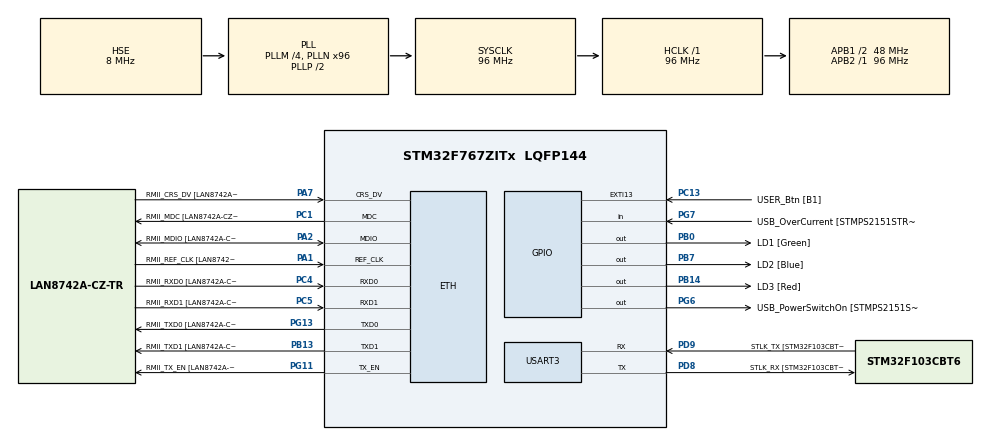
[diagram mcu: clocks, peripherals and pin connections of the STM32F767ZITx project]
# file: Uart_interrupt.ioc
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CORTEX_M7.default_mode_Activation=1
ETH.MediaInterface=HAL_ETH_RMII_MODE
ETH.PHY_Name=LAN8742A_PHY_ADDRESS
ETH.PHY_Value=0
ETH.PhyAddress=0
Mcu.Family=STM32F7
Mcu.Name=STM32F767ZITx
Mcu.Package=LQFP144
NVIC.PriorityGroup=NVIC_PRIORITYGROUP_4
NVIC.USART3_IRQn=true\:0\:0\:false\:false\:true\:true\:true\:true
PA1.GPIO_Label=RMII_REF_CLK [LAN8742A-CZ-TR_REFCLK0]
PA1.Mode=RMII
PA1.Signal=ETH_REF_CLK
PA10.GPIO_Label=USB_ID
PA10.Signal=USB_OTG_FS_ID
PA11.GPIO_Label=USB_DM
PA11.Signal=USB_OTG_FS_DM
PA12.GPIO_Label=USB_DP
PA12.Signal=USB_OTG_FS_DP
PA13.GPIO_Label=TMS
PA13.Mode=Serial_Wire
PA13.Signal=SYS_JTMS-SWDIO
PA14.GPIO_Label=TCK
PA14.Mode=Serial_Wire
PA14.Signal=SYS_JTCK-SWCLK
PA2.GPIO_Label=RMII_MDIO [LAN8742A-CZ-TR_MDIO]
PA2.Mode=RMII
PA2.Signal=ETH_MDIO
PA7.GPIO_Label=RMII_CRS_DV [LAN8742A-CZ-TR_CRS_DV]
PA7.Mode=RMII
PA7.Signal=ETH_CRS_DV
PA8.GPIO_Label=USB_SOF [TP1]
PA8.Signal=USB_OTG_FS_SOF
PA9.GPIO_Label=USB_VBUS
PA9.Signal=USB_OTG_FS_VBUS
PB0.GPIO_Label=LD1 [Green]
PB0.Signal=GPIO_Output
PB13.GPIO_Label=RMII_TXD1 [LAN8742A-CZ-TR_TXD1]
PB13.Mode=RMII
PB13.Signal=ETH_TXD1
PB14.GPIO_Label=LD3 [Red]
PB14.Signal=GPIO_Output
PB3.GPIO_Label=SWO
PB3.Signal=SYS_JTDO-SWO
PB7.GPIO_Label=LD2 [Blue]
PB7.Signal=GPIO_Output
PC1.GPIO_Label=RMII_MDC [LAN8742A-CZ-TR_MDC]
PC1.Mode=RMII
PC1.Signal=ETH_MDC
PC13.GPIO_Label=USER_Btn [B1]
PC13.Signal=GPXTI13
PC14/OSC32_IN.Mode=LSE-External-Oscillator
PC14/OSC32_IN.Signal=RCC_OSC32_IN
PC15/OSC32_OUT.Mode=LSE-External-Oscillator
PC15/OSC32_OUT.Signal=RCC_OSC32_OUT
PC4.GPIO_Label=RMII_RXD0 [LAN8742A-CZ-TR_RXD0]
PC4.Mode=RMII
PC4.Signal=ETH_RXD0
PC5.GPIO_Label=RMII_RXD1 [LAN8742A-CZ-TR_RXD1]
PC5.Mode=RMII
PC5.Signal=ETH_RXD1
PD8.GPIO_Label=STLK_RX [STM32F103CBT6_PA3]
PD8.Mode=Asynchronous
PD8.Signal=USART3_TX
PD9.GPIO_Label=STLK_TX [STM32F103CBT6_PA2]
PD9.Mode=Asynchronous
PD9.Signal=USART3_RX
PG11.GPIO_Label=RMII_TX_EN [LAN8742A-CZ-TR_TXEN]
PG11.Mode=RMII
PG11.Signal=ETH_TX_EN
PG13.GPIO_Label=RMII_TXD0 [LAN8742A-CZ-TR_TXD0]
PG13.Mode=RMII
PG13.Signal=ETH_TXD0
PG6.GPIO_Label=USB_PowerSwitchOn [STMPS2151STR_EN]
PG6.Signal=GPIO_Output
PG7.GPIO_Label=USB_OverCurrent [STMPS2151STR_FAULT]
PG7.Signal=GPIO_Input
PH0/OSC_IN.GPIO_Label=MCO [STM32F103CBT6_PA8]
PH0/OSC_IN.Mode=HSE-External-Clock-Source
PH0/OSC_IN.Signal=RCC_OSC_IN
PH1/OSC_OUT.Mode=HSE-External-Clock-Source
PH1/OSC_OUT.Signal=RCC_OSC_OUT
ProjectManager.HeapSize=0x200
ProjectManager.StackSize=0x400
ProjectManager.TargetToolchain=STM32CubeIDE
RCC.48MHZClocksFreq_Value=24000000
RCC.AHBFreq_Value=96000000
RCC.APB1CLKDivider=RCC_HCLK_DIV2
RCC.APB1Freq_Value=48000000
RCC.APB1TimFreq_Value=96000000
RCC.APB2Freq_Value=96000000
RCC.APB2TimFreq_Value=96000000
RCC.CortexFreq_Value=96000000
RCC.HCLKFreq_Value=96000000
RCC.HSE_VALUE=8000000
RCC.HSI_VALUE=16000000
RCC.PLLM=4
RCC.PLLMUL=RCC_PLL_MUL9
RCC.PLLN=96
RCC.PLLQ=4
RCC.PLLSourceVirtual=RCC_PLLSOURCE_HSE
RCC.PRESCALERUSB=RCC_USBCLKSOURCE_PLL_DIV1_5
RCC.SYSCLKFreq_VALUE=96000000
RCC.SYSCLKSource=RCC_SYSCLKSOURCE_PLLCLK
RCC.SYSCLKSourceVirtual=RCC_SYSCLKSOURCE_PLLCLK
RCC.USBFreq_Value=48000000
RCC.VCOOutputFreq_Value=192000000
USART3.VirtualMode-Asynchronous=VM_ASYNC
board=NUCLEO-F767ZI

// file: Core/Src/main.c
/* USER CODE BEGIN Header */
/**
  ******************************************************************************
  * @file           : main.c
  * @brief          : Main program body
  ******************************************************************************
  * @attention
  *
  * Copyright (c) 2026 STMicroelectronics.
  * All rights reserved.
  *
  * This software is licensed under terms that can be found in the LICENSE file
  * in the root directory of this software component.
  * If no LICENSE file comes with this software, it is provided AS-IS.
  *
  ******************************************************************************
  */
/* USER CODE END Header */
#include "main.h"
#include "string.h"

/* USER CODE BEGIN Includes */
#include "string.h"
/* USER CODE END Includes */

#if defined ( __ICCARM__ ) /*!< IAR Compiler */
#pragma location=0x2007c000
ETH_DMADescTypeDef  DMARxDscrTab[ETH_RX_DESC_CNT]; /* Ethernet Rx DMA Descriptors */
#pragma location=0x2007c0a0
ETH_DMADescTypeDef  DMATxDscrTab[ETH_TX_DESC_CNT]; /* Ethernet Tx DMA Descriptors */

#elif defined ( __CC_ARM )  /* MDK ARM Compiler */

__attribute__((at(0x2007c000))) ETH_DMADescTypeDef  DMARxDscrTab[ETH_RX_DESC_CNT]; /* Ethernet Rx DMA Descriptors */
__attribute__((at(0x2007c0a0))) ETH_DMADescTypeDef  DMATxDscrTab[ETH_TX_DESC_CNT]; /* Ethernet Tx DMA Descriptors */

#elif defined ( __GNUC__ ) /* GNU Compiler */

ETH_DMADescTypeDef DMARxDscrTab[ETH_RX_DESC_CNT] __attribute__((section(".RxDecripSection"))); /* Ethernet Rx DMA Descriptors */
ETH_DMADescTypeDef DMATxDscrTab[ETH_TX_DESC_CNT] __attribute__((section(".TxDecripSection")));   /* Ethernet Tx DMA Descriptors */
#endif

ETH_TxPacketConfig TxConfig;

ETH_HandleTypeDef heth;

UART_HandleTypeDef huart3;

/* USER CODE BEGIN PV */
char *first_message= "Hello World\r\n";
uint8_t rxData[10];
uint8_t newMessageFlag=0;
extern uint8_t indx;
uint8_t tempRxData[10];
/* USER CODE END PV */

void SystemClock_Config(void);
static void MPU_Config(void);
static void MX_GPIO_Init(void);
static void MX_ETH_Init(void);
static void MX_USART3_UART_Init(void);

int main(void)
{

  /* MPU Configuration--------------------------------------------------------*/
  MPU_Config();

  /* MCU Configuration--------------------------------------------------------*/

  /* Reset of all peripherals, Initializes the Flash interface and the Systick. */
  HAL_Init();

  /* Configure the system clock */
  SystemClock_Config();

  /* Initialize all configured peripherals */
  MX_GPIO_Init();
  MX_ETH_Init();
  MX_USART3_UART_Init();
  /* USER CODE BEGIN 2 */
//HAL_UART_Transmit_IT(&huart3,(uint8_t*)first_message, strlen(first_message));
//HAL_UART_Receive_IT(&huart3, rxData, 10);
  __HAL_UART_ENABLE_IT(&huart3,UART_IT_RXNE);
  /* USER CODE END 2 */

  /* Infinite loop */
  /* USER CODE BEGIN WHILE */
  while (1)
  {

	  if(newMessageFlag == 1){

		  for(int i=0;i<10;i++){

			  if(rxData[i]=='\n'){
				  indx=0;
				  // 1. Önce gelen veriyi geçici değişkene kopyala (Silinmesin diye)
				    for(int j=0; j<10; j++){
				                    tempRxData[j] = rxData[j];
				      }
				  if(rxData[0]=='L' && rxData[1]=='E'&&rxData[2]=='D'&&rxData[3]==' '&&rxData[4]=='O'&&
						  rxData[5]=='N'){

					 HAL_GPIO_WritePin(GPIOB, GPIO_PIN_0, GPIO_PIN_SET);

				  }else if(rxData[0]=='L'&&rxData[1]=='E'&&rxData[2]=='D'&&rxData[3]==' '&&
						  rxData[4]=='O' && rxData[5]=='F'&& rxData[6]=='F'){

						 HAL_GPIO_WritePin(GPIOB, GPIO_PIN_0, GPIO_PIN_RESET);
					  }else{

					  }

				  for(int i=0;i<10;i++){

					  rxData[i]=0;
				  }
				  //mesajın sonu

				  break;
			  }
		  }

		  newMessageFlag=0;
	  }
    /* USER CODE END WHILE */

  }
}

void SystemClock_Config(void)
{
  RCC_OscInitTypeDef RCC_OscInitStruct = {0};
  RCC_ClkInitTypeDef RCC_ClkInitStruct = {0};

  /** Configure LSE Drive Capability
  */
  HAL_PWR_EnableBkUpAccess();

  /** Configure the main internal regulator output voltage
  */
  __HAL_RCC_PWR_CLK_ENABLE();
  __HAL_PWR_VOLTAGESCALING_CONFIG(PWR_REGULATOR_VOLTAGE_SCALE3);

  /** Initializes the RCC Oscillators according to the specified parameters
  * in the RCC_OscInitTypeDef structure.
  */
  RCC_OscInitStruct.OscillatorType = RCC_OSCILLATORTYPE_HSE;
  RCC_OscInitStruct.HSEState = RCC_HSE_BYPASS;
  RCC_OscInitStruct.PLL.PLLState = RCC_PLL_ON;
  RCC_OscInitStruct.PLL.PLLSource = RCC_PLLSOURCE_HSE;
  RCC_OscInitStruct.PLL.PLLM = 4;
  RCC_OscInitStruct.PLL.PLLN = 96;
  RCC_OscInitStruct.PLL.PLLP = RCC_PLLP_DIV2;
  RCC_OscInitStruct.PLL.PLLQ = 4;
  RCC_OscInitStruct.PLL.PLLR = 2;
  if (HAL_RCC_OscConfig(&RCC_OscInitStruct) != HAL_OK)
  {
    Error_Handler();
  }

  /** Activate the Over-Drive mode
  */
  if (HAL_PWREx_EnableOverDrive() != HAL_OK)
  {
    Error_Handler();
  }

  /** Initializes the CPU, AHB and APB buses clocks
  */
  RCC_ClkInitStruct.ClockType = RCC_CLOCKTYPE_HCLK|RCC_CLOCKTYPE_SYSCLK
                              |RCC_CLOCKTYPE_PCLK1|RCC_CLOCKTYPE_PCLK2;
  RCC_ClkInitStruct.SYSCLKSource = RCC_SYSCLKSOURCE_PLLCLK;
  RCC_ClkInitStruct.AHBCLKDivider = RCC_SYSCLK_DIV1;
  RCC_ClkInitStruct.APB1CLKDivider = RCC_HCLK_DIV2;
  RCC_ClkInitStruct.APB2CLKDivider = RCC_HCLK_DIV1;

  if (HAL_RCC_ClockConfig(&RCC_ClkInitStruct, FLASH_LATENCY_3) != HAL_OK)
  {
    Error_Handler();
  }
}

static void MX_ETH_Init(void)
{

   static uint8_t MACAddr[6];

  heth.Instance = ETH;
  MACAddr[0] = 0x00;
  MACAddr[1] = 0x80;
  MACAddr[2] = 0xE1;
  MACAddr[3] = 0x00;
  MACAddr[4] = 0x00;
  MACAddr[5] = 0x00;
  heth.Init.MACAddr = &MACAddr[0];
  heth.Init.MediaInterface = HAL_ETH_RMII_MODE;
  heth.Init.TxDesc = DMATxDscrTab;
  heth.Init.RxDesc = DMARxDscrTab;
  heth.Init.RxBuffLen = 1524;

  if (HAL_ETH_Init(&heth) != HAL_OK)
  {
    Error_Handler();
  }

  memset(&TxConfig, 0 , sizeof(ETH_TxPacketConfig));
  TxConfig.Attributes = ETH_TX_PACKETS_FEATURES_CSUM | ETH_TX_PACKETS_FEATURES_CRCPAD;
  TxConfig.ChecksumCtrl = ETH_CHECKSUM_IPHDR_PAYLOAD_INSERT_PHDR_CALC;
  TxConfig.CRCPadCtrl = ETH_CRC_PAD_INSERT;

}

static void MX_USART3_UART_Init(void)
{

  huart3.Instance = USART3;
  huart3.Init.BaudRate = 115200;
  huart3.Init.WordLength = UART_WORDLENGTH_8B;
  huart3.Init.StopBits = UART_STOPBITS_1;
  huart3.Init.Parity = UART_PARITY_NONE;
  huart3.Init.Mode = UART_MODE_TX_RX;
  huart3.Init.HwFlowCtl = UART_HWCONTROL_NONE;
  huart3.Init.OverSampling = UART_OVERSAMPLING_16;
  huart3.Init.OneBitSampling = UART_ONE_BIT_SAMPLE_DISABLE;
  huart3.AdvancedInit.AdvFeatureInit = UART_ADVFEATURE_NO_INIT;
  if (HAL_UART_Init(&huart3) != HAL_OK)
  {
    Error_Handler();
  }

}

static void MX_GPIO_Init(void)
{
  GPIO_InitTypeDef GPIO_InitStruct = {0};

  /* GPIO Ports Clock Enable */
  __HAL_RCC_GPIOC_CLK_ENABLE();
  __HAL_RCC_GPIOH_CLK_ENABLE();
  __HAL_RCC_GPIOA_CLK_ENABLE();
  __HAL_RCC_GPIOB_CLK_ENABLE();
  __HAL_RCC_GPIOD_CLK_ENABLE();
  __HAL_RCC_GPIOG_CLK_ENABLE();

  /*Configure GPIO pin Output Level */
  HAL_GPIO_WritePin(GPIOB, LD1_Pin|LD3_Pin|LD2_Pin, GPIO_PIN_RESET);

  /*Configure GPIO pin Output Level */
  HAL_GPIO_WritePin(USB_PowerSwitchOn_GPIO_Port, USB_PowerSwitchOn_Pin, GPIO_PIN_RESET);

  /*Configure GPIO pin : USER_Btn_Pin */
  GPIO_InitStruct.Pin = USER_Btn_Pin;
  GPIO_InitStruct.Mode = GPIO_MODE_IT_RISING;
  GPIO_InitStruct.Pull = GPIO_NOPULL;
  HAL_GPIO_Init(USER_Btn_GPIO_Port, &GPIO_InitStruct);

  /*Configure GPIO pins : LD1_Pin LD3_Pin LD2_Pin */
  GPIO_InitStruct.Pin = LD1_Pin|LD3_Pin|LD2_Pin;
  GPIO_InitStruct.Mode = GPIO_MODE_OUTPUT_PP;
  GPIO_InitStruct.Pull = GPIO_NOPULL;
  GPIO_InitStruct.Speed = GPIO_SPEED_FREQ_LOW;
  HAL_GPIO_Init(GPIOB, &GPIO_InitStruct);

  /*Configure GPIO pin : USB_PowerSwitchOn_Pin */
  GPIO_InitStruct.Pin = USB_PowerSwitchOn_Pin;
  GPIO_InitStruct.Mode = GPIO_MODE_OUTPUT_PP;
  GPIO_InitStruct.Pull = GPIO_NOPULL;
  GPIO_InitStruct.Speed = GPIO_SPEED_FREQ_LOW;
  HAL_GPIO_Init(USB_PowerSwitchOn_GPIO_Port, &GPIO_InitStruct);

  /*Configure GPIO pin : USB_OverCurrent_Pin */
  GPIO_InitStruct.Pin = USB_OverCurrent_Pin;
  GPIO_InitStruct.Mode = GPIO_MODE_INPUT;
  GPIO_InitStruct.Pull = GPIO_NOPULL;
  HAL_GPIO_Init(USB_OverCurrent_GPIO_Port, &GPIO_InitStruct);

  /*Configure GPIO pins : USB_SOF_Pin USB_ID_Pin USB_DM_Pin USB_DP_Pin */
  GPIO_InitStruct.Pin = USB_SOF_Pin|USB_ID_Pin|USB_DM_Pin|USB_DP_Pin;
  GPIO_InitStruct.Mode = GPIO_MODE_AF_PP;
  GPIO_InitStruct.Pull = GPIO_NOPULL;
  GPIO_InitStruct.Speed = GPIO_SPEED_FREQ_VERY_HIGH;
  GPIO_InitStruct.Alternate = GPIO_AF10_OTG_FS;
  HAL_GPIO_Init(GPIOA, &GPIO_InitStruct);

  /*Configure GPIO pin : USB_VBUS_Pin */
  GPIO_InitStruct.Pin = USB_VBUS_Pin;
  GPIO_InitStruct.Mode = GPIO_MODE_INPUT;
  GPIO_InitStruct.Pull = GPIO_NOPULL;
  HAL_GPIO_Init(USB_VBUS_GPIO_Port, &GPIO_InitStruct);

}

 /* MPU Configuration */

void MPU_Config(void)
{
  MPU_Region_InitTypeDef MPU_InitStruct = {0};

  /* Disables the MPU */
  HAL_MPU_Disable();

  /** Initializes and configures the Region and the memory to be protected
  */
  MPU_InitStruct.Enable = MPU_REGION_ENABLE;
  MPU_InitStruct.Number = MPU_REGION_NUMBER0;
  MPU_InitStruct.BaseAddress = 0x0;
  MPU_InitStruct.Size = MPU_REGION_SIZE_4GB;
  MPU_InitStruct.SubRegionDisable = 0x87;
  MPU_InitStruct.TypeExtField = MPU_TEX_LEVEL0;
  MPU_InitStruct.AccessPermission = MPU_REGION_NO_ACCESS;
  MPU_InitStruct.DisableExec = MPU_INSTRUCTION_ACCESS_DISABLE;
  MPU_InitStruct.IsShareable = MPU_ACCESS_SHAREABLE;
  MPU_InitStruct.IsCacheable = MPU_ACCESS_NOT_CACHEABLE;
  MPU_InitStruct.IsBufferable = MPU_ACCESS_NOT_BUFFERABLE;

  HAL_MPU_ConfigRegion(&MPU_InitStruct);
  /* Enables the MPU */
  HAL_MPU_Enable(MPU_PRIVILEGED_DEFAULT);

}

void Error_Handler(void)
{
  __disable_irq();
  while (1)
  {
  }
}
